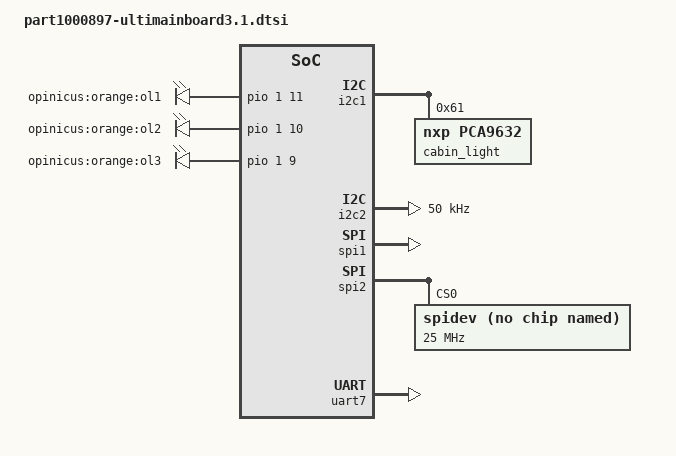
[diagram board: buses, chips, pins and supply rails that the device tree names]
/*
 * Copyright 2015 - Ultimaker B.V.
 * Author Olliver Schinagl <o.schinagl@ultimaker.com>
 *
 * This file is dual-licensed: you can use it either under the terms
 * of the GPL or the X11 license, at your option. Note that this dual
 * licensing only applies to this file, and not this project as a
 * whole.
 *
 *  a) This file is free software; you can redistribute it and/or
 *     modify it under the terms of the GNU General Public License as
 *     published by the Free Software Foundation; either version 2 of the
 *     License, or (at your option) any later version.
 *
 *     This file is distributed in the hope that it will be useful,
 *     but WITHOUT ANY WARRANTY; without even the implied warranty of
 *     MERCHANTABILITY or FITNESS FOR A PARTICULAR PURPOSE.  See the
 *     GNU General Public License for more details.
 *
 * Or, alternatively,
 *
 *  b) Permission is hereby granted, free of charge, to any person
 *     obtaining a copy of this software and associated documentation
 *     files (the "Software"), to deal in the Software without
 *     restriction, including without limitation the rights to use,
 *     copy, modify, merge, publish, distribute, sublicense, and/or
 *     sell copies of the Software, and to permit persons to whom the
 *     Software is furnished to do so, subject to the following
 *     conditions:
 *
 *     The above copyright notice and this permission notice shall be
 *     included in all copies or substantial portions of the Software.
 *
 *     THE SOFTWARE IS PROVIDED "AS IS", WITHOUT WARRANTY OF ANY KIND,
 *     EXPRESS OR IMPLIED, INCLUDING BUT NOT LIMITED TO THE WARRANTIES
 *     OF MERCHANTABILITY, FITNESS FOR A PARTICULAR PURPOSE AND
 *     NONINFRINGEMENT. IN NO EVENT SHALL THE AUTHORS OR COPYRIGHT
 *     HOLDERS BE LIABLE FOR ANY CLAIM, DAMAGES OR OTHER LIABILITY,
 *     WHETHER IN AN ACTION OF CONTRACT, TORT OR OTHERWISE, ARISING
 *     FROM, OUT OF OR IN CONNECTION WITH THE SOFTWARE OR THE USE OR
 *     OTHER DEALINGS IN THE SOFTWARE.
 */

#include "jedi-common.dts"

/ {
    aliases {
        serial1 = &uart7;
    };

    leds {
        green {
            linux,default-trigger = "mmc0";
        };

        ol1 {
            label = "opinicus:orange:ol1";
            gpios = <&pio 1 11 GPIO_ACTIVE_HIGH>;
            default-state = "on";
        };

        ol2 {
            label = "opinicus:orange:ol2";
            gpios = <&pio 1 10 GPIO_ACTIVE_HIGH>;
            default-state = "on";
        };

        ol3 {
            label = "opinicus:orange:ol3";
            gpios = <&pio 1 9 GPIO_ACTIVE_HIGH>;
            default-state = "on";
        };
    };
};

&i2c1 {
    cabin_light: pca9632@61 {
        compatible = "nxp,pca9632";
        #address-cells = <1>;
        #size-cells = <0>;
        reg = <0x61>;
        nxp,totem-pole;
        nxp,inverted-out;
        nxp,hw-blink;

        red@0 {
            label = "red:cabin_light";
            reg = <0>;
            linux,default-trigger = "none";
        };

        green@1 {
            label = "green:cabin_light";
            reg = <1>;
            linux,default-trigger = "none";
        };

        blue@2 {
            label = "blue:cabin_light";
            reg = <2>;
            linux,default-trigger = "none";
        };

        white@3 {
            label = "white:cabin_light";
            reg = <3>;
            linux,default-trigger = "none";
        };
    };
};

&i2c2 {
    pinctrl-names = "default";
    pinctrl-0 = <&i2c2_pins_a>;
    clock-frequency = <50000>;
    status = "okay";
};

&pio {
    nfc_irq: nfc_irq {
        pins = "PI11";
        function = "gpio_in";
        bias-disabled;
    };

    nfc_hreq: nfc_hreq {
        pins = "PI10";
        function = "gpio_out";
        drive-strength = <10>;
        bias-pullup;
    };

    led_pins_opinicus: led_pins@0 {
        pins = "PB9", "PB10", "PB11";
        function = "gpio_out";
        drive-strength = <20>;
        bias-disabled;
    };
};

&spi1 {
    pinctrl-names = "default";
    pinctrl-0 = <&spi1_pins_a>;
    status = "okay";
};

&spi2 {
    pinctrl-names = "default";
    pinctrl-0 = <&spi2_pins_a>;
    status = "okay";

    spidev@0 {
        compatible = "spidev";
        spi-max-frequency = <25000000>;
        reg = <0>;
    };
};

&uart7 {
    pinctrl-names = "default";
    pinctrl-0 = <&uart7_pins_a>;
    status = "okay";
};
